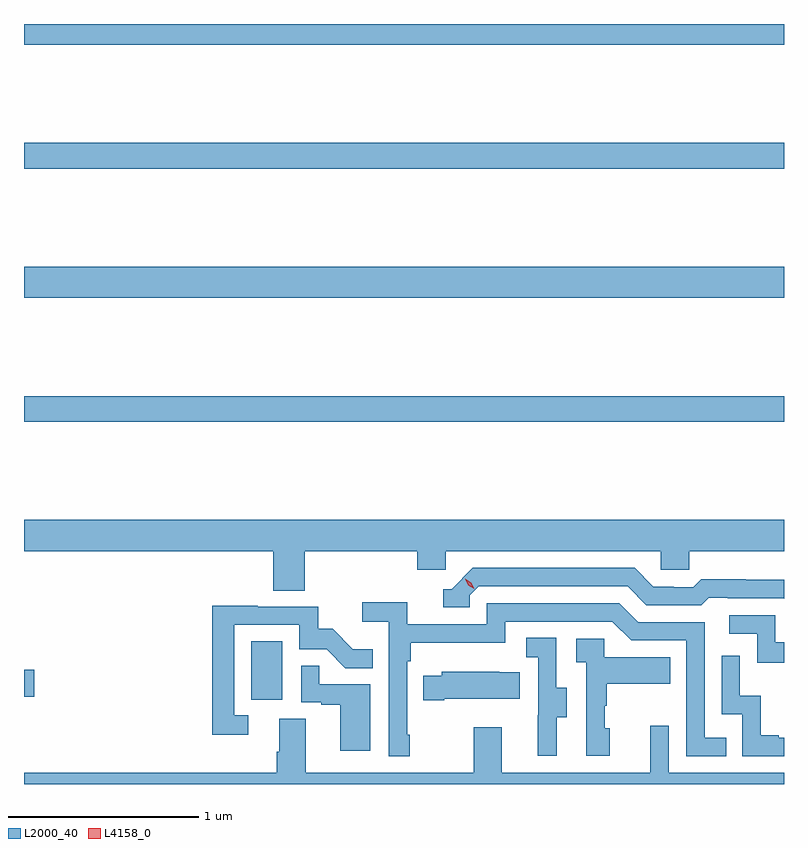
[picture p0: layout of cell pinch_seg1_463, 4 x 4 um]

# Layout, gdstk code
import gdstk
lib = gdstk.Library(unit=1e-6, precision=1e-09)
def R(c, l, rs):  # rectangles x0, y0, x1, y1
    for r in rs: c.add(gdstk.rectangle(r[:2], r[2:], *l))
def P(c, l, *ps):  # polygons
    for p in ps: c.add(gdstk.Polygon(p, *l))
L2000_40 = (2000, 40)
L4158_0 = (4158, 0)

pinch_seg1_463 = lib.new_cell('pinch_seg1_463')
R(pinch_seg1_463, L2000_40, [(1008.698,513.654,1008.862,513.961), (1007.502,513.67,1007.557,513.812), (1007.502,515.116,1011.502,515.252), (1007.502,515.768,1011.502,515.932), (1007.502,516.448,1011.502,516.584), (1007.502,517.1,1011.502,517.21)])
P(pinch_seg1_463, L2000_40, [(1008.98,514.436),(1009.571,514.436),(1009.571,514.338),(1009.722,514.338),(1009.722,514.436),(1010.853,514.436),(1010.853,514.338),(1011.003,514.338),(1011.003,514.436),(1011.502,514.436),(1011.502,514.6),(1007.502,514.6),(1007.502,514.436),(1008.815,514.436),(1008.815,514.228),(1008.98,514.228)],
  [(1009.848,514.203),(1009.896,514.251),(1010.679,514.251),(1010.778,514.152),(1011.067,514.152),(1011.106,514.191),(1011.205,514.191),(1011.205,514.188),(1011.498,514.188),(1011.502,514.184),(1011.502,514.285),(1011.3,514.285),(1011.3,514.288),(1011.067,514.288),(1011.025,514.245),(1010.922,514.245),(1010.922,514.248),(1010.815,514.248),(1010.716,514.347),(1009.863,514.347),(1009.752,514.236),(1009.709,514.236),(1009.709,514.14),(1009.848,514.14)],
  [(1009.531,513.469),(1009.518,513.469),(1009.518,513.857),(1009.538,513.857),(1009.538,513.953),(1010.034,513.953),(1010.034,514.065),(1010.598,514.065),(1010.697,513.966),(1010.988,513.966),(1010.988,513.357),(1011.197,513.357),(1011.197,513.453),(1011.084,513.453),(1011.084,514.062),(1010.734,514.062),(1010.635,514.161),(1009.938,514.161),(1009.938,514.05),(1009.52,514.05),(1009.52,514.166),(1009.281,514.166),(1009.281,514.064),(1009.422,514.064),(1009.422,513.357),(1009.531,513.357)],
  [(1008.682,513.573),(1008.609,513.573),(1008.609,514.047),(1008.951,514.047),(1008.951,513.918),(1009.095,513.918),(1009.193,513.82),(1009.337,513.82),(1009.337,513.919),(1009.233,513.919),(1009.126,514.026),(1009.05,514.026),(1009.05,514.143),(1008.731,514.143),(1008.731,514.148),(1008.493,514.148),(1008.493,513.468),(1008.682,513.468)],
  [(1011.502,513.957),(1011.456,513.957),(1011.456,514.098),(1011.213,514.098),(1011.213,514.002),(1011.36,514.002),(1011.36,513.849),(1011.502,513.849)],
  [(1010.305,513.562),(1010.359,513.562),(1010.359,513.717),(1010.304,513.717),(1010.304,513.98),(1010.145,513.98),(1010.145,513.877),(1010.208,513.877),(1010.208,513.573),(1010.207,513.573),(1010.207,513.36),(1010.305,513.36)],
  [(1010.584,513.504),(1010.559,513.504),(1010.559,513.623),(1010.569,513.623),(1010.569,513.737),(1010.903,513.737),(1010.903,513.877),(1010.556,513.877),(1010.556,513.975),(1010.409,513.975),(1010.409,513.851),(1010.46,513.851),(1010.46,513.36),(1010.584,513.36)],
  [(1011.502,513.453),(1011.475,513.453),(1011.475,513.466),(1011.38,513.466),(1011.38,513.674),(1011.27,513.674),(1011.27,513.886),(1011.174,513.886),(1011.174,513.576),(1011.282,513.576),(1011.282,513.357),(1011.502,513.357)],
  [(1009.324,513.735),(1009.055,513.735),(1009.055,513.833),(1008.96,513.833),(1008.96,513.639),(1009.067,513.639),(1009.067,513.627),(1009.166,513.627),(1009.166,513.384),(1009.324,513.384)],
  [(1009.714,513.659),(1010.111,513.659),(1010.111,513.799),(1010.003,513.799),(1010.003,513.802),(1009.701,513.802),(1009.701,513.781),(1009.603,513.781),(1009.603,513.652),(1009.714,513.652)],
  [(1011.502,513.268),(1010.895,513.268),(1010.895,513.517),(1010.798,513.517),(1010.798,513.268),(1010.017,513.268),(1010.017,513.508),(1009.87,513.508),(1009.87,513.268),(1008.985,513.268),(1008.985,513.554),(1008.845,513.554),(1008.845,513.38),(1008.833,513.38),(1008.833,513.268),(1007.502,513.268),(1007.502,513.21),(1011.502,513.21)])
P(pinch_seg1_463, L4158_0, [(1009.872,514.237),(1009.841,514.256),(1009.825,514.288),(1009.825,514.289),(1009.825,514.289),(1009.856,514.27),(1009.872,514.238),(1009.872,514.237)])

lib.write_gds('pinch_seg1_463.gds')
